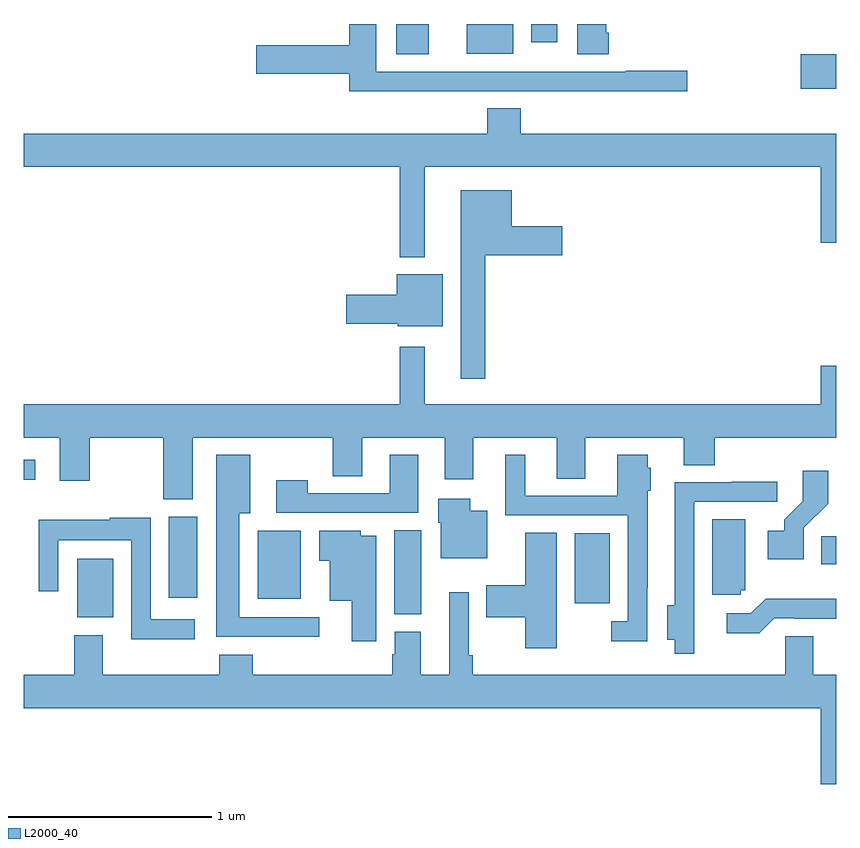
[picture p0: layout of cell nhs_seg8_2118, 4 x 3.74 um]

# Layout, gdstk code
import gdstk
lib = gdstk.Library(unit=1e-6, precision=1e-09)
def R(c, l, rs):  # rectangles x0, y0, x1, y1
    for r in rs: c.add(gdstk.rectangle(r[:2], r[2:], *l))
def P(c, l, *ps):  # polygons
    for p in ps: c.add(gdstk.Polygon(p, *l))
L2000_40 = (2000, 40)

nhs_seg8_2118 = lib.new_cell('nhs_seg8_2118')
R(nhs_seg8_2118, L2000_40, [(245.264,1084.979,245.44,1085.266), (246.824,1084.993,246.958,1085.408), (247.712,1085.048,247.885,1085.392), (246.152,1085.069,246.364,1085.404), (245.714,1085.076,245.854,1085.475), (248.926,1085.24,249,1085.378), (245,1085.657,245.056,1085.754), (248.826,1087.58,249,1087.751), (246.833,1087.75,246.994,1087.9), (247.181,1087.754,247.411,1087.9), (247.499,1087.809,247.627,1087.9)])
P(nhs_seg8_2118, L2000_40, [(247.199,1087.569),(247.531,1087.569),(247.531,1087.568),(248.266,1087.568),(248.266,1087.67),(247.963,1087.67),(247.963,1087.665),(246.736,1087.665),(246.736,1087.9),(246.602,1087.9),(246.602,1087.796),(246.144,1087.796),(246.144,1087.654),(246.602,1087.654),(246.602,1087.568),(247.199,1087.568)],
  [(247.88,1087.858),(247.867,1087.858),(247.867,1087.9),(247.724,1087.9),(247.724,1087.75),(247.88,1087.75)],
  [(246.973,1087.196),(248.924,1087.196),(248.924,1086.822),(249,1086.822),(249,1087.36),(247.448,1087.36),(247.448,1087.484),(247.283,1087.484),(247.283,1087.36),(245,1087.36),(245,1087.196),(246.852,1087.196),(246.852,1086.752),(246.973,1086.752)],
  [(247.273,1086.761),(247.651,1086.761),(247.651,1086.903),(247.402,1086.903),(247.402,1087.081),(247.151,1087.081),(247.151,1086.153),(247.273,1086.153)],
  [(247.063,1086.667),(246.836,1086.667),(246.836,1086.566),(246.588,1086.566),(246.588,1086.424),(246.84,1086.424),(246.84,1086.413),(247.063,1086.413)],
  [(245.833,1085.864),(246.52,1085.864),(246.52,1085.674),(246.667,1085.674),(246.667,1085.864),(247.073,1085.864),(247.073,1085.658),(247.213,1085.658),(247.213,1085.864),(247.625,1085.864),(247.625,1085.662),(247.765,1085.662),(247.765,1085.864),(248.249,1085.864),(248.249,1085.728),(248.402,1085.728),(248.402,1085.864),(249,1085.864),(249,1086.217),(248.924,1086.217),(248.924,1086.028),(246.973,1086.028),(246.973,1086.31),(246.852,1086.31),(246.852,1086.028),(245,1086.028),(245,1085.864),(245.177,1085.864),(245.177,1085.652),(245.325,1085.652),(245.325,1085.864),(245.686,1085.864),(245.686,1085.56),(245.833,1085.56)],
  [(246.943,1085.779),(246.803,1085.779),(246.803,1085.589),(246.399,1085.589),(246.399,1085.653),(246.243,1085.653),(246.243,1085.493),(246.943,1085.493)],
  [(246.454,1084.98),(246.061,1084.98),(246.061,1085.492),(246.115,1085.492),(246.115,1085.779),(245.948,1085.779),(245.948,1084.883),(246.454,1084.883)],
  [(248.07,1085.122),(248.071,1085.122),(248.071,1085.601),(248.086,1085.601),(248.086,1085.715),(248.071,1085.715),(248.071,1085.779),(247.922,1085.779),(247.922,1085.577),(247.468,1085.577),(247.468,1085.779),(247.37,1085.779),(247.37,1085.481),(247.974,1085.481),(247.974,1084.959),(247.893,1084.959),(247.893,1084.862),(248.07,1084.862)],
  [(248.841,1085.419),(248.96,1085.538),(248.96,1085.701),(248.835,1085.701),(248.835,1085.549),(248.744,1085.459),(248.744,1085.404),(248.664,1085.404),(248.664,1085.264),(248.841,1085.264)],
  [(248.302,1085.022),(248.301,1085.022),(248.301,1085.547),(248.71,1085.547),(248.71,1085.646),(248.485,1085.646),(248.485,1085.643),(248.204,1085.643),(248.204,1085.039),(248.168,1085.039),(248.168,1084.868),(248.204,1084.868),(248.204,1084.8),(248.302,1084.8)],
  [(247.282,1085.503),(247.198,1085.503),(247.198,1085.563),(247.04,1085.563),(247.04,1085.445),(247.052,1085.445),(247.052,1085.27),(247.282,1085.27)],
  [(245.842,1084.968),(245.625,1084.968),(245.625,1085.468),(245.422,1085.468),(245.422,1085.458),(245.073,1085.458),(245.073,1085.106),(245.169,1085.106),(245.169,1085.357),(245.529,1085.357),(245.529,1084.871),(245.842,1084.871)],
  [(248.529,1085.112),(248.551,1085.112),(248.551,1085.461),(248.39,1085.461),(248.39,1085.091),(248.529,1085.091)],
  [(246.736,1085.38),(246.66,1085.38),(246.66,1085.404),(246.455,1085.404),(246.455,1085.258),(246.506,1085.258),(246.506,1085.06),(246.614,1085.06),(246.614,1084.86),(246.736,1084.86)],
  [(247.624,1085.396),(247.469,1085.396),(247.469,1085.137),(247.276,1085.137),(247.276,1084.979),(247.469,1084.979),(247.469,1084.827),(247.624,1084.827)],
  [(249,1084.696),(248.887,1084.696),(248.887,1084.886),(248.748,1084.886),(248.748,1084.696),(247.211,1084.696),(247.211,1084.792),(247.191,1084.792),(247.191,1085.101),(247.094,1085.101),(247.094,1084.696),(246.955,1084.696),(246.955,1084.908),(246.827,1084.908),(246.827,1084.797),(246.815,1084.797),(246.815,1084.696),(246.128,1084.696),(246.128,1084.795),(245.963,1084.795),(245.963,1084.696),(245.389,1084.696),(245.389,1084.891),(245.249,1084.891),(245.249,1084.696),(245,1084.696),(245,1084.532),(248.924,1084.532),(248.924,1084.158),(249,1084.158)],
  [(248.694,1084.974),(248.794,1084.974),(248.794,1084.971),(249,1084.971),(249,1085.071),(248.653,1085.071),(248.58,1084.998),(248.46,1084.998),(248.46,1084.901),(248.621,1084.901)])

lib.write_gds('nhs_seg8_2118.gds')
